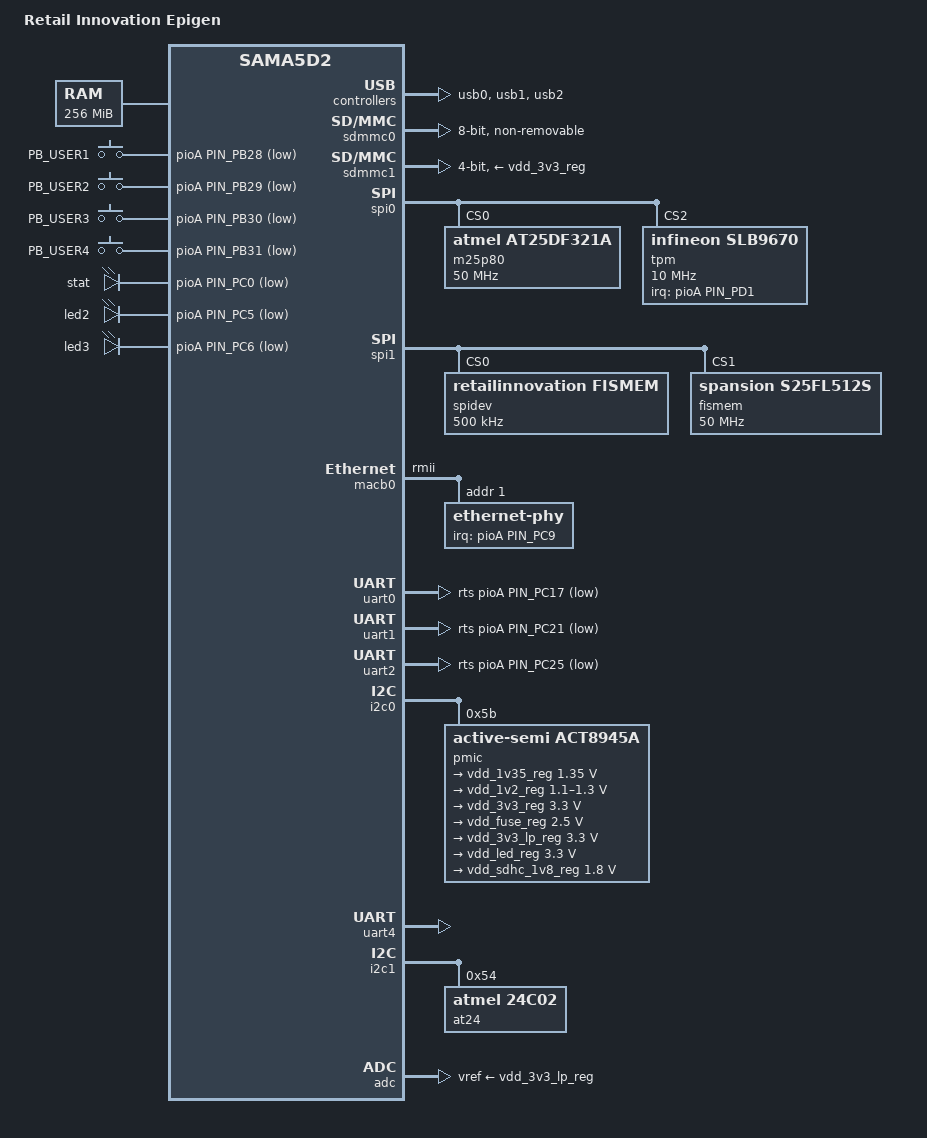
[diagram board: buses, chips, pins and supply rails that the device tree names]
/*
 * at91-sama5d2_epigen.dts - Device Tree file for Retail Innovation Epigen board
 *
 *  Copyright (C) 2015 Atmel,
 *                2015 Nicolas Ferre <nicolas.ferre@atmel.com>
 *                2018 Jonas Bonn <jonas.bonn@gmail.com>
 *
 * This file is dual-licensed: you can use it either under the terms
 * of the GPL or the X11 license, at your option. Note that this dual
 * licensing only applies to this file, and not this project as a
 * whole.
 *
 *  a) This file is free software; you can redistribute it and/or
 *     modify it under the terms of the GNU General Public License as
 *     published by the Free Software Foundation; either version 2 of the
 *     License, or (at your option) any later version.
 *
 *     This file is distributed in the hope that it will be useful,
 *     but WITHOUT ANY WARRANTY; without even the implied warranty of
 *     MERCHANTABILITY or FITNESS FOR A PARTICULAR PURPOSE.  See the
 *     GNU General Public License for more details.
 *
 * Or, alternatively,
 *
 *  b) Permission is hereby granted, free of charge, to any person
 *     obtaining a copy of this software and associated documentation
 *     files (the "Software"), to deal in the Software without
 *     restriction, including without limitation the rights to use,
 *     copy, modify, merge, publish, distribute, sublicense, and/or
 *     sell copies of the Software, and to permit persons to whom the
 *     Software is furnished to do so, subject to the following
 *     conditions:
 *
 *     The above copyright notice and this permission notice shall be
 *     included in all copies or substantial portions of the Software.
 *
 *     THE SOFTWARE IS PROVIDED "AS IS", WITHOUT WARRANTY OF ANY KIND,
 *     EXPRESS OR IMPLIED, INCLUDING BUT NOT LIMITED TO THE WARRANTIES
 *     OF MERCHANTABILITY, FITNESS FOR A PARTICULAR PURPOSE AND
 *     NONINFRINGEMENT. IN NO EVENT SHALL THE AUTHORS OR COPYRIGHT
 *     HOLDERS BE LIABLE FOR ANY CLAIM, DAMAGES OR OTHER LIABILITY,
 *     WHETHER IN AN ACTION OF CONTRACT, TORT OR OTHERWISE, ARISING
 *     FROM, OUT OF OR IN CONNECTION WITH THE SOFTWARE OR THE USE OR
 *     OTHER DEALINGS IN THE SOFTWARE.
 */
/dts-v1/;
#include "sama5d2.dtsi"
#include "sama5d2-pinfunc.h"
#include <dt-bindings/mfd/atmel-flexcom.h>
#include <dt-bindings/gpio/gpio.h>

/ {
	model = "Retail Innovation Epigen";
	compatible = "retailinnovation,epigen", "atmel,sama5d2", "atmel,sama5";

	aliases {
		serial0 = &uart4;
		serial1 = &uart1;
		serial2 = &uart0;
		serial3 = &uart2;
	};

	chosen {
		stdout-path = "serial0:115200n8";
	};

	memory {
		reg = <0x20000000 0x10000000>;
	};

	clocks {
		slow_xtal {
			clock-frequency = <32768>;
		};

		main_xtal {
			clock-frequency = <12000000>;
		};
	};

	ahb {
		usb0: gadget@300000 {
			atmel,vbus-gpio = <&pioA PIN_PA31 GPIO_ACTIVE_HIGH>;
			pinctrl-names = "default";
			pinctrl-0 = <&pinctrl_usba_vbus>;
			status = "okay";
		};

		usb1: ohci@400000 {
			num-ports = <3>;
			atmel,vbus-gpio = <0 /* &pioA PIN_PB9 GPIO_ACTIVE_HIGH */
					   &pioA PIN_PB10 GPIO_ACTIVE_HIGH
					   0
					  >;
			pinctrl-names = "default";
			pinctrl-0 = <&pinctrl_usb_default>;
			status = "okay";
		};

		usb2: ehci@500000 {
			status = "okay";
		};

		sdmmc0: sdio-host@a0000000 {
			bus-width = <8>;
			pinctrl-names = "default";
			pinctrl-0 = <&pinctrl_sdmmc0_default>;
			non-removable;
			mmc-ddr-1_8v;
			status = "okay";
		};

		sdmmc1: sdio-host@b0000000 {
			bus-width = <4>;
			pinctrl-names = "default";
			pinctrl-0 = <&pinctrl_sdmmc1_default>;
			status = "okay"; /* conflict with qspi0 */
			vqmmc-supply = <&vdd_3v3_reg>;
			vmmc-supply = <&vdd_3v3_reg>;
		};

		apb {
			spi0: spi@f8000000 {
				pinctrl-names = "default";
				pinctrl-0 = <&pinctrl_spi0_default>;
				status = "okay";

				m25p80@0 {
					compatible = "atmel,at25df321a", "jedec,spi-nor";
					reg = <0>;
					spi-max-frequency = <50000000>;
				};

				/* FIXME: max frequency needs to be verified:
				 * datasheet indicates 22.5MHZ at 1.8V
				 */
				/* FIXME: I think the IRQ is active low, but
				 * verify that it's not edge triggered
				 */
				tpm@2 {
					compatible = "infineon,slb9670";
					spi-max-frequency = <10000000>;
					reg = <2>;

					pinctrl-names = "default";
					pinctrl-0 = <&pinctrl_tpm_reset &pinctrl_tpm_irq>;
					interrupt-parent = <&pioA>;
					interrupts = <PIN_PD1 IRQ_TYPE_LEVEL_LOW>;
				};
			};

			spi1: spi@fc000000 {
				pinctrl-names = "default";
				pinctrl-0 = <&pinctrl_spi1_default>;
				status = "okay";

				/* FIXME: add device corresponding to fiscal
				 * memory; currently, no driver exists for
				 * this thing and its functionality is
				 * currently still only very loosely defined
				 */
				/* For now, we put an spidev here so that we
				 * can talk to the MCU from userspace.
				 */
				spidev@0 {
					compatible = "retailinnovation,fismem";
					/* FIXME: what frequency?? */
					spi-max-frequency = <500000>;
					spi-word-delay-us = <24>;
					reg = <0>;
				};

				/* @1 we have an SPI-flash, but currently
				 * not known which model... put an spidev
				 * here for now so that we can poke it from
				 * userspace.
				 */
				fismem@1 {
					compatible = "spansion,s25fl512s", "jedec,spi-nor";
					spi-max-frequency = <50000000>;
					reg = <1>;
					m25p,fast-read;
				};
			};

			macb0: ethernet@f8008000 {
				pinctrl-names = "default";
				pinctrl-0 = <&pinctrl_macb0_default &pinctrl_macb0_phy_irq>;
				phy-mode = "rmii";
				status = "okay";

				ethernet-phy@1 {
					reg = <0x1>;
					interrupt-parent = <&pioA>;
					interrupts = <PIN_PC9 IRQ_TYPE_LEVEL_LOW>;
				};
			};

			tcb0: timer@f800c000 {
				timer0: timer@0 {
					compatible = "atmel,tcb-timer";
					reg = <0>;
				};

				timer1: timer@1 {
					compatible = "atmel,tcb-timer";
					reg = <1>;
				};
			};

			uart0: serial@f801c000 {
				pinctrl-names = "default";
				pinctrl-0 = <&pinctrl_uart0_default>;
				atmel,use-dma-rx;
				atmel,use-dma-tx;
				cts-gpios = <&pioA PIN_PC16 GPIO_ACTIVE_LOW>;
				rts-gpios = <&pioA PIN_PC17 GPIO_ACTIVE_LOW>;
				dsr-gpios = <&pioA PIN_PC18 GPIO_ACTIVE_LOW>;
				dtr-gpios = <&pioA PIN_PC19 GPIO_ACTIVE_LOW>;
				status = "okay";
			};

			uart1: serial@f8020000 {
				pinctrl-names = "default";
				pinctrl-0 = <&pinctrl_uart1_default>;
				atmel,use-dma-rx;
				atmel,use-dma-tx;
				cts-gpios = <&pioA PIN_PC20 GPIO_ACTIVE_LOW>;
				rts-gpios = <&pioA PIN_PC21 GPIO_ACTIVE_LOW>;
				dsr-gpios = <&pioA PIN_PC22 GPIO_ACTIVE_LOW>;
				dtr-gpios = <&pioA PIN_PC23 GPIO_ACTIVE_LOW>;
				status = "okay";
			};

			uart2: serial@f8024000 {
				pinctrl-names = "default";
				pinctrl-0 = <&pinctrl_uart2_default>;
				atmel,use-dma-rx;
				atmel,use-dma-tx;
				cts-gpios = <&pioA PIN_PC24 GPIO_ACTIVE_LOW>;
				rts-gpios = <&pioA PIN_PC25 GPIO_ACTIVE_LOW>;
				dsr-gpios = <&pioA PIN_PC26 GPIO_ACTIVE_LOW>;
				dtr-gpios = <&pioA PIN_PC27 GPIO_ACTIVE_LOW>;
				status = "okay";
			};

			i2c0: i2c@f8028000 {
				dmas = <0>, <0>;
				pinctrl-names = "default";
				pinctrl-0 = <&pinctrl_i2c0_default>;
				i2c-sda-hold-time-ns = <350>;
				status = "okay";

				pmic@5b {
					compatible = "active-semi,act8945a";
					reg = <0x5b>;
					active-semi,vsel-high;
					status = "okay";

					regulators {
						vdd_1v35_reg: REG_DCDC1 {
							regulator-name = "VDD_1V35";
							regulator-min-microvolt = <1350000>;
							regulator-max-microvolt = <1350000>;
							regulator-always-on;
						};

						vdd_1v2_reg: REG_DCDC2 {
							regulator-name = "VDD_1V2";
							regulator-min-microvolt = <1100000>;
							regulator-max-microvolt = <1300000>;
							regulator-always-on;
						};

						vdd_3v3_reg: REG_DCDC3 {
							regulator-name = "VDD_3V3";
							regulator-min-microvolt = <3300000>;
							regulator-max-microvolt = <3300000>;
							regulator-always-on;
						};

						vdd_fuse_reg: REG_LDO1 {
							regulator-name = "VDD_FUSE";
							regulator-min-microvolt = <2500000>;
							regulator-max-microvolt = <2500000>;
							regulator-always-on;
						};

						vdd_3v3_lp_reg: REG_LDO2 {
							regulator-name = "VDD_3V3_LP";
							regulator-min-microvolt = <3300000>;
							regulator-max-microvolt = <3300000>;
							regulator-always-on;
						};

						vdd_led_reg: REG_LDO3 {
							regulator-name = "VDD_LED";
							regulator-min-microvolt = <3300000>;
							regulator-max-microvolt = <3300000>;
							regulator-always-on;
						};

						vdd_sdhc_1v8_reg: REG_LDO4 {
							regulator-name = "VDD_SDHC_1V8";
							regulator-min-microvolt = <1800000>;
							regulator-max-microvolt = <1800000>;
							regulator-always-on;
						};
					};

					charger {
						compatible = "active-semi,act8945a-charger";
						pinctrl-names = "default";
						pinctrl-0 = <&pinctrl_charger_chglev &pinctrl_charger_lbo &pinctrl_charger_irq>;
						interrupt-parent = <&pioA>;
						interrupts = <PIN_PB13 IRQ_TYPE_EDGE_RISING>;

						active-semi,chglev-gpios = <&pioA PIN_PA12 GPIO_ACTIVE_HIGH>;
						active-semi,lbo-gpios = <&pioA PIN_PC8 GPIO_ACTIVE_LOW>;
						active-semi,input-voltage-threshold-microvolt = <6600>;
						active-semi,precondition-timeout = <40>;
						active-semi,total-timeout = <3>;
						status = "okay";
					};
				};
			};

			shdwc@f8048010 {
				atmel,shdwc-debouncer = <976>;
				atmel,wakeup-rtc-timer;

				input@0 {
					reg = <0>;
					atmel,wakeup-type = "low";
				};
			};

			watchdog@f8048040 {
				status = "okay";
			};

			/* This should probably be disabled for
			 * production builds.
			 */
			uart4: serial@fc00c000 {
				pinctrl-names = "default";
				pinctrl-0 = <&pinctrl_uart4_default>;
				atmel,use-dma-rx;
				atmel,use-dma-tx;
				status = "okay";
			};

			i2c1: i2c@fc028000 {
				dmas = <0>, <0>;
				pinctrl-names = "default";
				pinctrl-0 = <&pinctrl_i2c1_default>;
				status = "okay";

				at24@54 {
					compatible = "atmel,24c02";
					reg = <0x54>;
					pagesize = <16>;
				};
			};

			/* The .dtsi that we inherate from assumes that there's
			 * a trigger GPIO... we don't have that so we drop
			 * the property
			 */
			adc: adc@fc030000 {
				vddana-supply = <&vdd_3v3_lp_reg>;
				vref-supply = <&vdd_3v3_lp_reg>;
				pinctrl-names = "default";
				pinctrl-0 = <&pinctrl_adc_default>;
				/delete-property/atmel,trigger-edge-type;
				status = "okay";
			};

			pioA: pinctrl@fc038000 {
				n_gpios = <34>;
				gpio-reserved-ranges = <0 65>, <69 5>,
					<76 16>, <95 33>;
				gpio-line-names = "CPU_PRT", "CPU_DISP",
					"BAT_ACT", "BAT_LOW",
					"CPU_GPO0", "CPU_GPO1",
					"UARTOFF0", "UARTOFF1", "UARTOFF2";

				/*
				 * There is no real pinmux for ADC, if the pin
				 * is not requested by another peripheral then
				 * the muxing is done when channel is enabled.
				 * Requesting pins for ADC as GPIO is
				 * encouraged to prevent conflicts and to
				 * disable bias in order to be in the same
				 * state when the pin is not muxed to the adc.
				 */
				pinctrl_adc_default: adc_default {
					pinmux = <PIN_PD19__GPIO>;
					bias-disable;
				};

				pinctrl_charger_chglev: charger_chglev {
					pinmux = <PIN_PA12__GPIO>;
					bias-disable;
				};

				pinctrl_charger_irq: charger_irq {
					pinmux = <PIN_PB13__GPIO>;
					bias-disable;
				};

				pinctrl_charger_lbo: charger_lbo {
					pinmux = <PIN_PC8__GPIO>;
					bias-pull-up;
				};

				pinctrl_i2c0_default: i2c0_default {
					pinmux = <PIN_PD21__TWD0>,
						 <PIN_PD22__TWCK0>;
					bias-disable;
				};

				pinctrl_i2c1_default: i2c1_default {
					pinmux = <PIN_PD4__TWD1>,
						 <PIN_PD5__TWCK1>;
					bias-disable;
				};

				pinctrl_tpm_reset: tpm_reset {
					pinmux = <PIN_PD0__GPIO>;
					output-high;
				};

				pinctrl_tpm_irq: tpm_irq {
					pinmux = <PIN_PD1__GPIO>;
					bias-disable;
				};

				pinctrl_key_gpio_default: key_gpio_default {
					pinmux = <PIN_PB28__GPIO>,
						 <PIN_PB29__GPIO>,
						 <PIN_PB30__GPIO>,
						 <PIN_PB31__GPIO>;
					bias-disable;
				};

				pinctrl_mcu_led_on_default: mcu_led_on_default {
					pinmux = <PIN_PC6__GPIO>,
						 <PIN_PC10__GPIO>,
						 <PIN_PC11__GPIO>;
					output-high;
				};

				pinctrl_mcu_led_off_default: mcu_led_off_default {
					pinmux = <PIN_PC12__GPIO>,
						 <PIN_PC13__GPIO>,
						 <PIN_PC14__GPIO>,
						 <PIN_PC15__GPIO>;
					output-low;
				};

				pinctrl_mcu_gpio_in: mcu_gpio_in {
					pinmux = <PIN_PC3__GPIO>,
						 <PIN_PC4__GPIO>,
						 <PIN_PC5__GPIO>;
					bias-disable;
				};

				pinctrl_mcu_gpio_out: mcu_gpio_out {
					pinmux = <PIN_PC1__GPIO>,
						 <PIN_PC2__GPIO>;
					output-low;
				};

				pinctrl_led_gpio_default: led_gpio_default {
					pinmux = <PIN_PC0__GPIO>,
						 <PIN_PC5__GPIO>,
						 <PIN_PC6__GPIO>;
					bias-pull-up;
				};

				pinctrl_macb0_default: macb0_default {
					pinmux = <PIN_PB14__GTXCK>,
						 <PIN_PB15__GTXEN>,
						 <PIN_PB16__GRXDV>,
						 <PIN_PB17__GRXER>,
						 <PIN_PB18__GRX0>,
						 <PIN_PB19__GRX1>,
						 <PIN_PB20__GTX0>,
						 <PIN_PB21__GTX1>,
						 <PIN_PB22__GMDC>,
						 <PIN_PB23__GMDIO>;
					bias-disable;
				};

				pinctrl_macb0_phy_irq: macb0_phy_irq {
					pinmux = <PIN_PC9__GPIO>;
					bias-disable;
				};

				pinctrl_sdmmc0_default: sdmmc0_default {
					cmd_data {
						pinmux = <PIN_PA1__SDMMC0_CMD>,
							 <PIN_PA2__SDMMC0_DAT0>,
							 <PIN_PA3__SDMMC0_DAT1>,
							 <PIN_PA4__SDMMC0_DAT2>,
							 <PIN_PA5__SDMMC0_DAT3>,
							 <PIN_PA6__SDMMC0_DAT4>,
							 <PIN_PA7__SDMMC0_DAT5>,
							 <PIN_PA8__SDMMC0_DAT6>,
							 <PIN_PA9__SDMMC0_DAT7>;
						bias-disable;
					};

					ck_cd_rstn_vddsel {
						pinmux = <PIN_PA0__SDMMC0_CK>,
							 <PIN_PA10__SDMMC0_RSTN>,
							 <PIN_PA11__SDMMC0_VDDSEL>,
							 <PIN_PA13__SDMMC0_CD>;
						bias-disable;
					};
				};

				pinctrl_sdmmc1_default: sdmmc1_default {
					cmd_data {
						pinmux = <PIN_PA28__SDMMC1_CMD>,
							 <PIN_PA18__SDMMC1_DAT0>,
							 <PIN_PA19__SDMMC1_DAT1>,
							 <PIN_PA20__SDMMC1_DAT2>,
							 <PIN_PA21__SDMMC1_DAT3>;
						bias-disable;
					};

					conf-ck_cd {
						pinmux = <PIN_PA22__SDMMC1_CK>,
							 <PIN_PA30__SDMMC1_CD>;
						bias-disable;
					};
				};

				pinctrl_spi0_default: spi0_default {
					pinmux = <PIN_PA14__SPI0_SPCK>,
						 <PIN_PA15__SPI0_MOSI>,
						 <PIN_PA16__SPI0_MISO>,
						 <PIN_PA17__SPI0_NPCS0>,
						 <PIN_PA27__SPI0_NPCS2>;
					bias-disable;
				};

				pinctrl_spi1_default: spi1_default {
					pinmux = <PIN_PD25__SPI1_SPCK>,
						 <PIN_PD26__SPI1_MOSI>,
						 <PIN_PD27__SPI1_MISO>,
						 <PIN_PD28__SPI1_NPCS0>,
						 <PIN_PD29__SPI1_NPCS1>;
					bias-disable;
				};

				pinctrl_uart0_default: uart0_default {
					rx_tx {
						pinmux = <PIN_PB26__URXD0>,
							 <PIN_PB27__UTXD0>;
						bias-disable;
					};

					rtscts {
						pinmux = <PIN_PC16__GPIO>,
							 <PIN_PC17__GPIO>,
							 <PIN_PC18__GPIO>,
							 <PIN_PC19__GPIO>;
						bias-disable;
					};

					uartoff {
						pinmux = <PIN_PC28__GPIO>;
						output-high;
					};
				};

				pinctrl_uart1_default: uart1_default {
					rx_tx {
						pinmux = <PIN_PD2__URXD1>,
							 <PIN_PD3__UTXD1>;
						bias-disable;
					};

					rtscts {
						 pinmux = <PIN_PC20__GPIO>,
							 <PIN_PC21__GPIO>,
							 <PIN_PC22__GPIO>,
							 <PIN_PC23__GPIO>;
						bias-disable;
					};

					uartoff {
						pinmux = <PIN_PC29__GPIO>;
						output-high;
					};
				};

				pinctrl_uart2_default: uart2_default {
					rx_tx {
						pinmux = <PIN_PD23__URXD2>,
							 <PIN_PD24__UTXD2>;
						bias-disable;
					};

					rtscts {
						 pinmux = <PIN_PC24__GPIO>,
							 <PIN_PC25__GPIO>,
							 <PIN_PC26__GPIO>,
							 <PIN_PC27__GPIO>;
						bias-disable;
					};

					uartoff {
						pinmux = <PIN_PC30__GPIO>;
						output-high;
					};
				};

				pinctrl_uart4_default: uart4_default {
					pinmux = <PIN_PB3__URXD4>,
						 <PIN_PB4__UTXD4>;
					bias-disable;
				};

				pinctrl_usb_default: usb_default {
					pinmux = <PIN_PB10__GPIO>;
					bias-disable;
				};

				pinctrl_usba_vbus: usba_vbus {
					pinmux = <PIN_PA31__GPIO>;
					bias-disable;
				};
			};
		};
	};

	gpio_keys {
		compatible = "gpio-keys";

		pinctrl-names = "default";
		pinctrl-0 = <&pinctrl_key_gpio_default>;

		/* FIXME: decide on key codes */
		/* FIXME: should thes be set as 'wakeup-source'? */
		bp1 {
			label = "PB_USER1";
			gpios = <&pioA PIN_PB28 GPIO_ACTIVE_LOW>;
			linux,code = <0x104>;
		};
		bp2 {
			label = "PB_USER2";
			gpios = <&pioA PIN_PB29 GPIO_ACTIVE_LOW>;
			linux,code = <0x105>;
		};
		bp3 {
			label = "PB_USER3";
			gpios = <&pioA PIN_PB30 GPIO_ACTIVE_LOW>;
			linux,code = <0x106>;
		};
		bp4 {
			label = "PB_USER4";
			gpios = <&pioA PIN_PB31 GPIO_ACTIVE_LOW>;
			linux,code = <0x107>;
		};
	};

	leds {
		compatible = "gpio-leds";
		pinctrl-names = "default";
		pinctrl-0 = <&pinctrl_led_gpio_default>;
		status = "okay"; /* conflict with pwm0 */

		/* Strobe from CPU to battery/power controller */
		stat {
			label = "stat";
			gpios = <&pioA PIN_PC0 GPIO_ACTIVE_LOW>;
			linux,default-trigger = "heartbeat";
		};

		led2 {
			label = "led2";
			gpios = <&pioA PIN_PC5 GPIO_ACTIVE_LOW>;
		};

		led3 {
			label = "led3";
			gpios = <&pioA PIN_PC6 GPIO_ACTIVE_LOW>;
		};
	};
};
